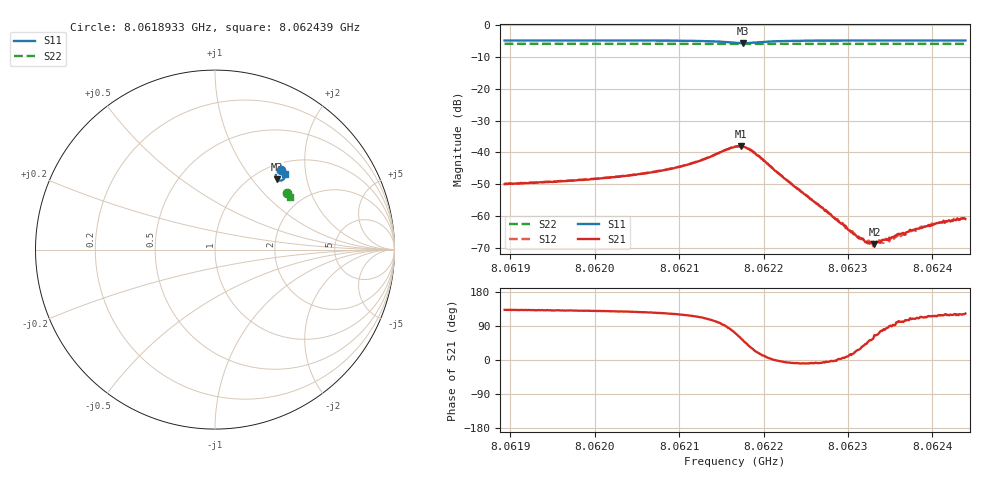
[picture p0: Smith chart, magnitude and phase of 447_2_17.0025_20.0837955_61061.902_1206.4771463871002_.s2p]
#  HZ  S  RI  R  50.00
! Rohde & Schwarz Vector Network Analyzer
! Rohde-Schwarz,ZNB20-2Port,1311601062101988,3.16
! Created: UTC 3/20/2024, 11:12:06 PM
! freq[Hz]  re:S11  im:S11  re:S21  im:S21  re:S12  im:S12  re:S22  im:S22
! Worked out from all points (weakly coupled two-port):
!   401 points, 8.0618933 GHz to 8.062439 GHz, reference 50 ohm
!   highest |S21| = -37.93 dB at 8.062173 GHz (marker M1); lowest = -68.9 dB at 8.0623313 GHz (marker M2)
!   lowest |S11| = -5.6 dB at 8.0621757 GHz (marker M3), VSWR 3.19, Z = 62.7 + j67.4 ohm
!   |S11| at or under -10 dB: nowhere
!   |S22| runs from -5.9 to -5.8 dB; largest |S21 - S12| = 0.00088
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8.06189327e9  0.3702 0.4414  -0.00213 0.00234  -0.002 0.00252  0.3994 0.3175
8.06198469e9  0.3768 0.4352  -0.00238 0.00283  -0.00222 0.00296  0.4029 0.313
8.06204063e9  0.3815 0.4302  -0.00263 0.00342  -0.00244 0.00363  0.405 0.31
8.06207611e9  0.3848 0.4253  -0.00288 0.00421  -0.00262 0.00444  0.4063 0.308
8.06211568e9  0.3887 0.4151  -0.003 0.00606  -0.00267 0.00629  0.4076 0.3059
8.06216616e9  0.3635 0.3844  0.00394 0.0117  0.00458 0.0115  0.408 0.3023
8.06217298e9  0.351 0.3875  0.00685 0.0107  0.00721 0.0101  0.4075 0.3023
8.06217571e9  0.3464 0.3909  0.00762 0.00965  0.00819 0.00917  0.4074 0.3022
8.06218117e9  0.3401 0.3997  0.00878 0.00741  0.00924 0.00699  0.4075 0.3025
8.06218935e9  0.3383 0.4139  0.00892 0.00406  0.00929 0.00369  0.408 0.303
8.06222619e9  0.3609 0.4353  0.00375 -0.00038  0.00378 -0.000622  0.4104 0.3016
8.06225758e9  0.3715 0.4345  0.00176 -0.000241  0.00176 -0.000376  0.4119 0.3002
8.06230942e9  0.3803 0.4308  0.000456 0.000194  0.000469 0.000148  0.4141 0.2973
8.06232307e9  0.382 0.4297  0.000269 0.000284  0.000279 0.000246  0.4146 0.2966
8.06233125e9  0.3829 0.4292  0.000149 0.000329  0.00018 0.000308  0.4149 0.2961
8.06233535e9  0.3834 0.429  0.000147 0.000356  0.000154 0.000345  0.4151 0.296
8.06234899e9  0.3848 0.4282  3.78e-06 0.000457  1.03e-05 0.000399  0.4155 0.2953
8.06235854e9  0.3856 0.4275  -8.58e-05 0.000513  -5.27e-05 0.000499  0.4159 0.2948
8.06236537e9  0.3863 0.4269  -9.66e-05 0.000536  -7.16e-05 0.000518  0.4161 0.2943
8.06238447e9  0.3879 0.4258  -0.000227 0.000598  -0.000226 0.000595  0.4167 0.2932
8.06241039e9  0.3899 0.4242  -0.000384 0.000702  -0.000314 0.000729  0.4176 0.2921
8.06243904e9  0.3919 0.4225  -0.000484 0.000758  -0.00044 0.000811  0.4187 0.2905
